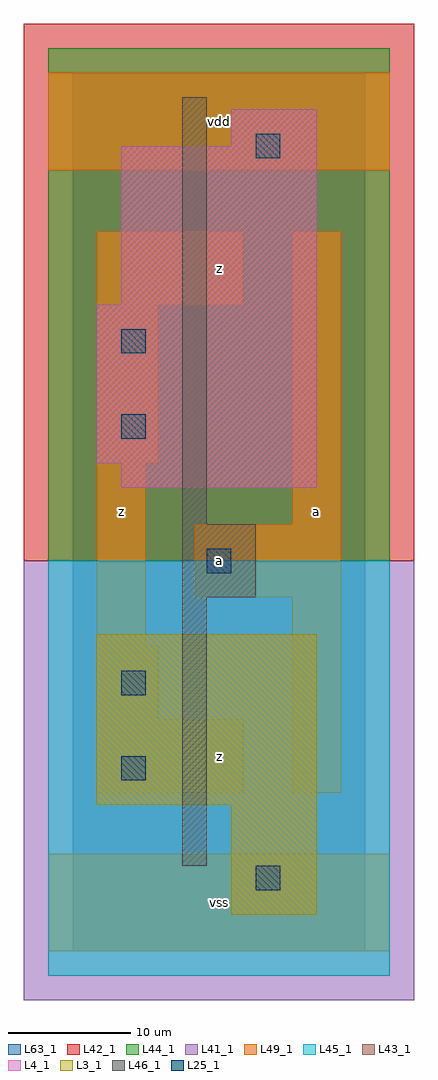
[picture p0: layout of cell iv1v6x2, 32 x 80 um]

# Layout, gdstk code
import gdstk
lib = gdstk.Library(unit=1e-6, precision=1e-09)
def R(c, l, rs):  # rectangles x0, y0, x1, y1
    for r in rs: c.add(gdstk.rectangle(r[:2], r[2:], *l))
L3_1 = (3, 1)
L4_1 = (4, 1)
L25_1 = (25, 1)
L41_1 = (41, 1)
L42_1 = (42, 1)
L43_1 = (43, 1)
L44_1 = (44, 1)
L45_1 = (45, 1)
L46_1 = (46, 1)
L49_1 = (49, 1)
L63_1 = (63, 1)

iv1v6x2 = lib.new_cell('iv1v6x2')
R(iv1v6x2, L3_1, [(13,3,20,12), (2,12,20,26)])
R(iv1v6x2, L4_1, [(4,38,20,40), (2,40,20,53), (4,53,20,66), (13,66,20,69)])
R(iv1v6x2, L25_1, [(15,5,17,7), (4,14,6,16), (4,21,6,23), (11,31,13,33), (4,42,6,44), (4,49,6,51), (15,65,17,67)])
R(iv1v6x2, L41_1, [(-4,-4,28,32)])
R(iv1v6x2, L42_1, [(-4,32,28,76)])
R(iv1v6x2, L43_1, [(13,3,20,12), (2,12,20,26), (4,38,20,40), (2,40,20,53), (4,53,20,66), (13,66,20,69)])
R(iv1v6x2, L44_1, [(-2,32,26,74)])
R(iv1v6x2, L45_1, [(-2,-2,26,32)])
R(iv1v6x2, L46_1, [(9,7,11,29), (9,29,15,35), (9,35,11,70)])
R(iv1v6x2, L49_1, [(-2,0,26,8), (2,13,14,19), (18,13,22,29), (2,19,7,25), (2,25,6,40), (10,29,22,35), (18,35,22,59), (2,40,7,53), (2,53,14,59), (-2,64,26,72)])
R(iv1v6x2, L63_1, [(0,0,24,72)])
iv1v6x2.add(gdstk.Label('z', (4,36), layer=49, texttype=1))
iv1v6x2.add(gdstk.Label('vss', (12,4), layer=49, texttype=1))
iv1v6x2.add(gdstk.Label('z', (12,16), layer=49, texttype=1))
iv1v6x2.add(gdstk.Label('a', (12,32), layer=49, texttype=1))
iv1v6x2.add(gdstk.Label('z', (12,56), layer=49, texttype=1))
iv1v6x2.add(gdstk.Label('vdd', (12,68), layer=49, texttype=1))
iv1v6x2.add(gdstk.Label('a', (20,36), layer=49, texttype=1))

lib.write_gds('iv1v6x2.gds')
